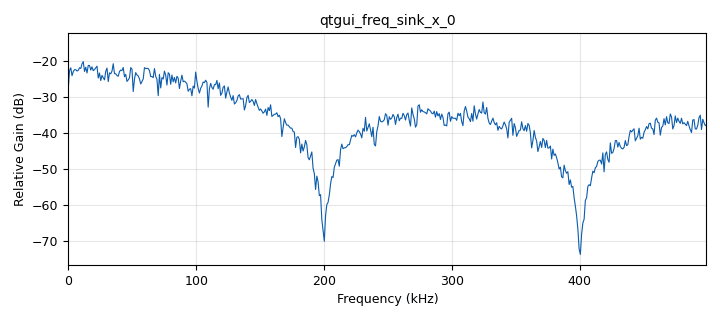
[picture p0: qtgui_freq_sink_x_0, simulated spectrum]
options:
  parameters:
    generate_options: qt_gui
    id: lesson10_homework
    output_language: python
    title: FIR Filter Manual
  states: {}

blocks:
- name: samp_rate
  id: variable
  parameters:
    value: 1e6
  states: {}
- name: tap0
  id: variable_qtgui_range
  parameters:
    start: '-1'
    step: '0.01'
    stop: '1'
    value: '1'
    widget: eng_slider
  states: {}
- name: tap1
  id: variable_qtgui_range
  parameters:
    start: '-1'
    step: '0.01'
    stop: '1'
    value: '1'
    widget: eng_slider
  states: {}
- name: tap2
  id: variable_qtgui_range
  parameters:
    start: '-1'
    step: '0.01'
    stop: '1'
    value: '1'
    widget: eng_slider
  states: {}
- name: tap3
  id: variable_qtgui_range
  parameters:
    start: '-1'
    step: '0.01'
    stop: '1'
    value: '1'
    widget: eng_slider
  states: {}
- name: tap4
  id: variable_qtgui_range
  parameters:
    start: '-1'
    step: '0.01'
    stop: '1'
    value: '1'
    widget: eng_slider
  states: {}
- name: analog_noise_source_x_0
  id: analog_noise_source_x
  parameters:
    amp: '1'
    noise_type: analog.GR_GAUSSIAN
    seed: '0'
    type: float
  states: {}
- name: blocks_add_xx_0
  id: blocks_add_xx
  parameters:
    num_inputs: '5'
    type: float
  states: {}
- name: blocks_delay_0_0
  id: blocks_delay
  parameters:
    delay: '2'
    type: float
  states: {}
- name: blocks_delay_0_0_0
  id: blocks_delay
  parameters:
    delay: '4'
    type: float
  states: {}
- name: blocks_delay_0_1
  id: blocks_delay
  parameters:
    delay: '1'
    type: float
  states: {}
- name: blocks_delay_0_1_0
  id: blocks_delay
  parameters:
    delay: '3'
    type: float
  states: {}
- name: blocks_multiply_const_vxx_0
  id: blocks_multiply_const_vxx
  parameters:
    const: tap0
    type: float
  states: {}
- name: blocks_multiply_const_vxx_0_0
  id: blocks_multiply_const_vxx
  parameters:
    const: tap2
    type: float
  states: {}
- name: blocks_multiply_const_vxx_0_0_0
  id: blocks_multiply_const_vxx
  parameters:
    const: tap4
    type: float
  states: {}
- name: blocks_multiply_const_vxx_0_1
  id: blocks_multiply_const_vxx
  parameters:
    const: tap1
    type: float
  states: {}
- name: blocks_multiply_const_vxx_0_1_0
  id: blocks_multiply_const_vxx
  parameters:
    const: tap3
    type: float
  states: {}
- name: blocks_throttle_0
  id: blocks_throttle
  parameters:
    samples_per_second: samp_rate
    type: float
  states: {}
- name: qtgui_freq_sink_x_0
  id: qtgui_freq_sink_x
  parameters:
    autoscale: 'True'
    average: '0.05'
    bw: samp_rate
    fc: '0'
    fftsize: '1024'
    freqhalf: 'False'
    type: float
    wintype: window.WIN_HAMMING
  states: {}

connections:
- [analog_noise_source_x_0, '0', blocks_throttle_0, '0']
- [blocks_add_xx_0, '0', qtgui_freq_sink_x_0, '0']
- [blocks_delay_0_0, '0', blocks_multiply_const_vxx_0_0, '0']
- [blocks_delay_0_0_0, '0', blocks_multiply_const_vxx_0_0_0, '0']
- [blocks_delay_0_1, '0', blocks_multiply_const_vxx_0_1, '0']
- [blocks_delay_0_1_0, '0', blocks_multiply_const_vxx_0_1_0, '0']
- [blocks_multiply_const_vxx_0, '0', blocks_add_xx_0, '0']
- [blocks_multiply_const_vxx_0_0, '0', blocks_add_xx_0, '2']
- [blocks_multiply_const_vxx_0_0_0, '0', blocks_add_xx_0, '4']
- [blocks_multiply_const_vxx_0_1, '0', blocks_add_xx_0, '1']
- [blocks_multiply_const_vxx_0_1_0, '0', blocks_add_xx_0, '3']
- [blocks_throttle_0, '0', blocks_delay_0_0, '0']
- [blocks_throttle_0, '0', blocks_delay_0_0_0, '0']
- [blocks_throttle_0, '0', blocks_delay_0_1, '0']
- [blocks_throttle_0, '0', blocks_delay_0_1_0, '0']
- [blocks_throttle_0, '0', blocks_multiply_const_vxx_0, '0']

metadata:
  file_format: 1
  grc_version: 3.10.12.0
